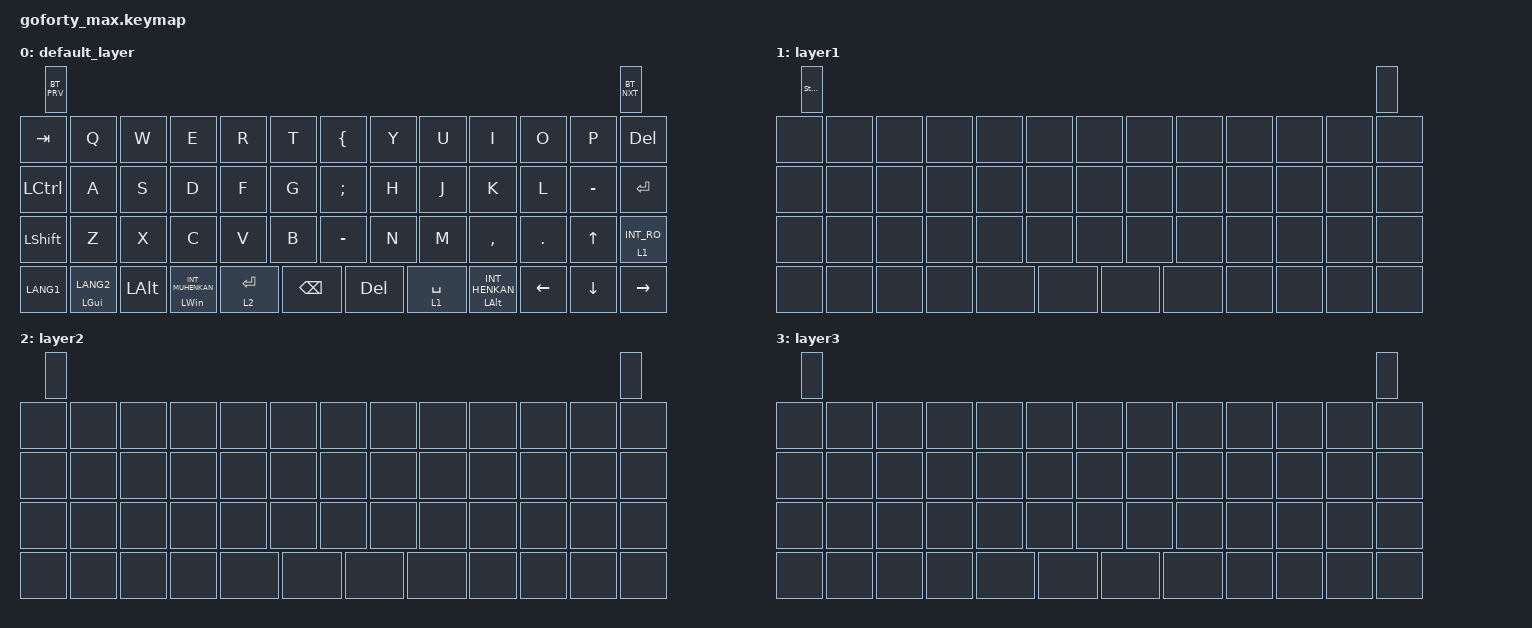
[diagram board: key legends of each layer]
#include <behaviors.dtsi>
#include <dt-bindings/zmk/bt.h>
#include <dt-bindings/zmk/keys.h>

/ {
    keymap {
        compatible = "zmk,keymap";

        default_layer {
            // Layer 0: o51go の Remap キーマップと同一構成(BTキー2個の追加のみ)

            bindings = <
&bt BT_PRV                                                                                                                                                               &bt BT_NXT
&kp TAB     &kp Q           &kp W     &kp E                      &kp R      &kp T          &kp LBRC   &kp Y       &kp U        &kp I                &kp O     &kp P      &kp DEL
&kp LCTRL   &kp A           &kp S     &kp D                      &kp F      &kp G          &kp SEMI   &kp H       &kp J        &kp K                &kp L     &kp MINUS  &kp RET
&kp LSHFT   &kp Z           &kp X     &kp C                      &kp V      &kp B          &kp MINUS  &kp N       &kp M        &kp COMMA            &kp DOT   &kp UP     &lt 1 INT_RO
&kp LANG1   &mt LGUI LANG2  &kp LALT  &mt LEFT_WIN INT_MUHENKAN  &lt 2 RET  &kp BACKSPACE             &kp DELETE  &lt 1 SPACE  &mt LALT INT_HENKAN  &kp LEFT  &kp DOWN   &kp RIGHT
            >;
        };

        layer1 {
            // Layer 1: 空。先頭キーだけ &studio_unlock (ZMK Studioでの編集を許可するため)。
            // それ以外の機能はビルド後にZMK Studioから自由に割り当てる。

            bindings = <
&studio_unlock                                                                               &none
&none           &none  &none  &none  &none  &none  &none  &none  &none  &none  &none  &none  &none
&none           &none  &none  &none  &none  &none  &none  &none  &none  &none  &none  &none  &none
&none           &none  &none  &none  &none  &none  &none  &none  &none  &none  &none  &none  &none
&none           &none  &none  &none  &none  &none         &none  &none  &none  &none  &none  &none
            >;
        };

        layer2 {
            // Layer 2: 空。ZMK Studioから割り当てる。

            bindings = <
&none                                                                               &none
&none  &none  &none  &none  &none  &none  &none  &none  &none  &none  &none  &none  &none
&none  &none  &none  &none  &none  &none  &none  &none  &none  &none  &none  &none  &none
&none  &none  &none  &none  &none  &none  &none  &none  &none  &none  &none  &none  &none
&none  &none  &none  &none  &none  &none         &none  &none  &none  &none  &none  &none
            >;
        };

        layer3 {
            // Layer 3: 空。ZMK Studioから割り当てる。

            bindings = <
&none                                                                               &none
&none  &none  &none  &none  &none  &none  &none  &none  &none  &none  &none  &none  &none
&none  &none  &none  &none  &none  &none  &none  &none  &none  &none  &none  &none  &none
&none  &none  &none  &none  &none  &none  &none  &none  &none  &none  &none  &none  &none
&none  &none  &none  &none  &none  &none         &none  &none  &none  &none  &none  &none
            >;
        };
    };
};
